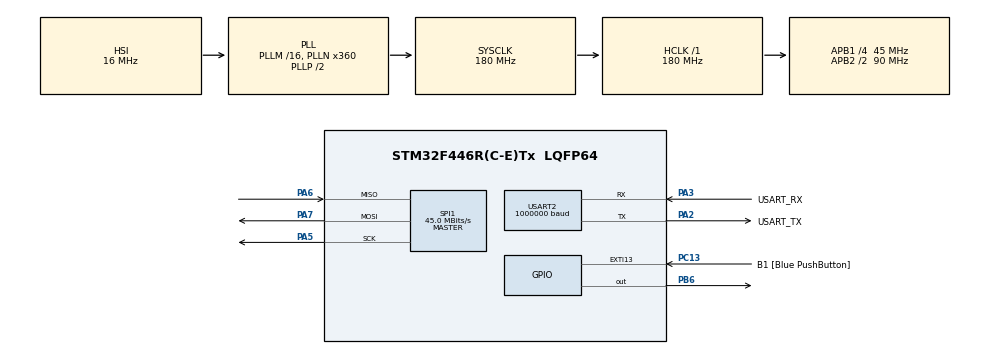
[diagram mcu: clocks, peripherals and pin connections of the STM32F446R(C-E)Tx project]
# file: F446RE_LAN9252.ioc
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FREERTOS.Tasks01=defaultTask,24,128,StartDefaultTask,Default,NULL,Static,defaultTaskBuffer,defaultTaskControlBlock;soes,24,1024,soesTask,Default,NULL,Static,soesBuffer,soesControlBlock
Mcu.Family=STM32F4
Mcu.Name=STM32F446R(C-E)Tx
Mcu.Package=LQFP64
NVIC.PriorityGroup=NVIC_PRIORITYGROUP_4
NVIC.TIM8_TRG_COM_TIM14_IRQn=true\:0\:0\:false\:false\:true\:false\:false\:true
NVIC.TimeBase=TIM8_TRG_COM_TIM14_IRQn
NVIC.TimeBaseIP=TIM14
PA13.GPIO_Label=TMS
PA13.Mode=Trace_Asynchronous_SW
PA13.Signal=SYS_JTMS-SWDIO
PA14.GPIO_Label=TCK
PA14.Mode=Trace_Asynchronous_SW
PA14.Signal=SYS_JTCK-SWCLK
PA2.GPIO_Label=USART_TX
PA2.Mode=Asynchronous
PA2.Signal=USART2_TX
PA3.GPIO_Label=USART_RX
PA3.Mode=Asynchronous
PA3.Signal=USART2_RX
PA5.Mode=Full_Duplex_Master
PA5.Signal=SPI1_SCK
PA6.Mode=Full_Duplex_Master
PA6.Signal=SPI1_MISO
PA7.Mode=Full_Duplex_Master
PA7.Signal=SPI1_MOSI
PB3.GPIO_Label=SWO
PB3.Mode=Trace_Asynchronous_SW
PB3.Signal=SYS_JTDO-SWO
PB6.Signal=GPIO_Output
PB8.Signal=I2C1_SCL
PB9.Signal=I2C1_SDA
PC13.GPIO_Label=B1 [Blue PushButton]
PC13.GPIO_ModeDefaultEXTI=GPIO_MODE_IT_FALLING
PC13.Signal=GPXTI13
PC14-OSC32_IN.Mode=LSE-External-Oscillator
PC14-OSC32_IN.Signal=RCC_OSC32_IN
PC15-OSC32_OUT.Mode=LSE-External-Oscillator
PC15-OSC32_OUT.Signal=RCC_OSC32_OUT
PH0-OSC_IN.Mode=HSE-External-Oscillator
PH0-OSC_IN.Signal=RCC_OSC_IN
PH1-OSC_OUT.Mode=HSE-External-Oscillator
PH1-OSC_OUT.Signal=RCC_OSC_OUT
ProjectManager.HeapSize=0x200
ProjectManager.StackSize=0x400
ProjectManager.TargetToolchain=Makefile
RCC.48MHZClocksFreq_Value=84000000
RCC.AHBFreq_Value=180000000
RCC.APB1CLKDivider=RCC_HCLK_DIV4
RCC.APB1Freq_Value=45000000
RCC.APB1TimFreq_Value=90000000
RCC.APB2CLKDivider=RCC_HCLK_DIV2
RCC.APB2Freq_Value=90000000
RCC.APB2TimFreq_Value=180000000
RCC.CortexFreq_Value=180000000
RCC.FLatency-AdvancedSettings=FLASH_LATENCY_5
RCC.HCLKFreq_Value=180000000
RCC.HSE_VALUE=8000000
RCC.HSI_VALUE=16000000
RCC.PLLN=360
RCC.SYSCLKFreq_VALUE=180000000
RCC.SYSCLKSource=RCC_SYSCLKSOURCE_PLLCLK
RCC.USBFreq_Value=180000000
RCC.VCOOutputFreq_Value=360000000
SPI1.CalculateBaudRate=45.0 MBits/s
SPI1.Direction=SPI_DIRECTION_2LINES
SPI1.Mode=SPI_MODE_MASTER
SPI1.VirtualType=VM_MASTER
USART2.BaudRate=1000000
USART2.VirtualMode=VM_ASYNC
VP_FREERTOS_VS_CMSIS_V2.Mode=CMSIS_V2
VP_SYS_VS_tim14.Mode=TIM14
board=NUCLEO-F446RE

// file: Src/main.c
/* USER CODE BEGIN Header */
/**
  ******************************************************************************
  * @file           : main.c
  * @brief          : Main program body
  ******************************************************************************
  * @attention
  *
  * <h2><center>&copy; Copyright (c) 2021 STMicroelectronics.
  * All rights reserved.</center></h2>
  *
  * This software component is licensed by ST under BSD 3-Clause license,
  * the "License"; You may not use this file except in compliance with the
  * License. You may obtain a copy of the License at:
  *                        opensource.org/licenses/BSD-3-Clause
  *
  ******************************************************************************
  */
/* USER CODE END Header */
#include "main.h"
#include "cmsis_os.h"
#include "spi.h"
#include "usart.h"
#include "gpio.h"

/* USER CODE BEGIN Includes */
#include <stdio.h>
#include <stdint.h>
#include "xprintf.h"

#include "ecat_slv.h"
#include "utypes.h"
/* USER CODE END Includes */

/* USER CODE BEGIN PD */
#ifdef __GNUC__
#define PUTCHAR_PROTOTYPE int __io_putchar(int ch)
#else
#define PUTCHAR_PROTOTYPE int fputc(int ch, FILE *f)
#endif /* __GNUC__ */

void __io_putchar(uint8_t ch) {
  HAL_UART_Transmit(&huart2, &ch, 1, 1);
}
/* USER CODE END PD */

/* USER CODE BEGIN PV */
  /* Application variables */
  _Objects    Obj;
/* USER CODE END PV */

void SystemClock_Config(void);
void MX_FREERTOS_Init(void);

/* USER CODE BEGIN 0 */
void cb_get_inputs (void)
{

    if(HAL_GPIO_ReadPin(B1_GPIO_Port, B1_Pin)){
      Obj.Buttons.Button1 = 255;
    }else{
      Obj.Buttons.Button1 = 0;
    }
}

void cb_set_outputs (void)
{
  if (Obj.LEDs.LED0== 1) {

	}
	else {

	}
}
/* USER CODE END 0 */

int main(void)
{

  /* MCU Configuration--------------------------------------------------------*/

  /* Reset of all peripherals, Initializes the Flash interface and the Systick. */
  HAL_Init();

  /* Configure the system clock */
  SystemClock_Config();

  /* Initialize all configured peripherals */
  MX_GPIO_Init();
  MX_USART2_UART_Init();
  MX_SPI1_Init();
  /* USER CODE BEGIN 2 */

  HAL_Delay(50);

  // Use xprintf as UART Output
   xdev_out(__io_putchar);

  setbuf(stdout, NULL);
  xprintf("\r\n%s,%s\r\n",__DATE__,__TIME__);
  xprintf("F446RE\r\n");

  xprintf("Hello Main\n");
  /* USER CODE END 2 */

  /* Init scheduler */
  osKernelInitialize();  /* Call init function for freertos objects (in freertos.c) */
  MX_FREERTOS_Init();
  /* Start scheduler */
  osKernelStart();

  /* We should never get here as control is now taken by the scheduler */
  /* Infinite loop */
  while (1)
  {

  }
}

void SystemClock_Config(void)
{
  RCC_OscInitTypeDef RCC_OscInitStruct = {0};
  RCC_ClkInitTypeDef RCC_ClkInitStruct = {0};

  /** Configure the main internal regulator output voltage
  */
  __HAL_RCC_PWR_CLK_ENABLE();
  __HAL_PWR_VOLTAGESCALING_CONFIG(PWR_REGULATOR_VOLTAGE_SCALE1);
  /** Initializes the RCC Oscillators according to the specified parameters
  * in the RCC_OscInitTypeDef structure.
  */
  RCC_OscInitStruct.OscillatorType = RCC_OSCILLATORTYPE_HSI;
  RCC_OscInitStruct.HSIState = RCC_HSI_ON;
  RCC_OscInitStruct.HSICalibrationValue = RCC_HSICALIBRATION_DEFAULT;
  RCC_OscInitStruct.PLL.PLLState = RCC_PLL_ON;
  RCC_OscInitStruct.PLL.PLLSource = RCC_PLLSOURCE_HSI;
  RCC_OscInitStruct.PLL.PLLM = 16;
  RCC_OscInitStruct.PLL.PLLN = 360;
  RCC_OscInitStruct.PLL.PLLP = RCC_PLLP_DIV2;
  RCC_OscInitStruct.PLL.PLLQ = 2;
  RCC_OscInitStruct.PLL.PLLR = 2;
  if (HAL_RCC_OscConfig(&RCC_OscInitStruct) != HAL_OK)
  {
    Error_Handler();
  }
  /** Activate the Over-Drive mode
  */
  if (HAL_PWREx_EnableOverDrive() != HAL_OK)
  {
    Error_Handler();
  }
  /** Initializes the CPU, AHB and APB buses clocks
  */
  RCC_ClkInitStruct.ClockType = RCC_CLOCKTYPE_HCLK|RCC_CLOCKTYPE_SYSCLK
                              |RCC_CLOCKTYPE_PCLK1|RCC_CLOCKTYPE_PCLK2;
  RCC_ClkInitStruct.SYSCLKSource = RCC_SYSCLKSOURCE_PLLCLK;
  RCC_ClkInitStruct.AHBCLKDivider = RCC_SYSCLK_DIV1;
  RCC_ClkInitStruct.APB1CLKDivider = RCC_HCLK_DIV4;
  RCC_ClkInitStruct.APB2CLKDivider = RCC_HCLK_DIV2;

  if (HAL_RCC_ClockConfig(&RCC_ClkInitStruct, FLASH_LATENCY_5) != HAL_OK)
  {
    Error_Handler();
  }
}

void HAL_TIM_PeriodElapsedCallback(TIM_HandleTypeDef *htim)
{
  if (htim->Instance == TIM14) {
    HAL_IncTick();
  }
}

void Error_Handler(void)
{
  __disable_irq();
  while (1)
  {
  }
}

/************************ (C) COPYRIGHT STMicroelectronics *****END OF FILE****/

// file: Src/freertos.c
/* USER CODE BEGIN Header */
/**
  ******************************************************************************
  * File Name          : freertos.c
  * Description        : Code for freertos applications
  ******************************************************************************
  * @attention
  *
  * <h2><center>&copy; Copyright (c) 2021 STMicroelectronics.
  * All rights reserved.</center></h2>
  *
  * This software component is licensed by ST under Ultimate Liberty license
  * SLA0044, the "License"; You may not use this file except in compliance with
  * the License. You may obtain a copy of the License at:
  *                             www.st.com/SLA0044
  *
  ******************************************************************************
  */
/* USER CODE END Header */

#include "FreeRTOS.h"
#include "task.h"
#include "main.h"
#include "cmsis_os.h"

/* USER CODE BEGIN Includes */
#include "esc_hw.h"
#include "ecat_slv.h"
#include "utypes.h"
#include "xprintf.h"
/* USER CODE END Includes */

typedef StaticTask_t osStaticThreadDef_t;

/* Definitions for defaultTask */
osThreadId_t defaultTaskHandle;
uint32_t defaultTaskBuffer[ 128 ];
osStaticThreadDef_t defaultTaskControlBlock;
const osThreadAttr_t defaultTask_attributes = {
  .name = "defaultTask",
  .cb_mem = &defaultTaskControlBlock,
  .cb_size = sizeof(defaultTaskControlBlock),
  .stack_mem = &defaultTaskBuffer[0],
  .stack_size = sizeof(defaultTaskBuffer),
  .priority = (osPriority_t) osPriorityNormal,
};
/* Definitions for soes */
osThreadId_t soesHandle;
uint32_t soesBuffer[ 1024 ];
osStaticThreadDef_t soesControlBlock;
const osThreadAttr_t soes_attributes = {
  .name = "soes",
  .cb_mem = &soesControlBlock,
  .cb_size = sizeof(soesControlBlock),
  .stack_mem = &soesBuffer[0],
  .stack_size = sizeof(soesBuffer),
  .priority = (osPriority_t) osPriorityNormal,
};

void StartDefaultTask(void *argument);
void soesTask(void *argument);

void MX_FREERTOS_Init(void); /* (MISRA C 2004 rule 8.1) */

void MX_FREERTOS_Init(void) {

  /* Create the thread(s) */
  /* creation of defaultTask */
  defaultTaskHandle = osThreadNew(StartDefaultTask, NULL, &defaultTask_attributes);

  /* creation of soes */
  soesHandle = osThreadNew(soesTask, NULL, &soes_attributes);

}

void StartDefaultTask(void *argument)
{
  /* USER CODE BEGIN StartDefaultTask */
  static uint16_t data = 0;
  static float dataf = 0.0f;
  /* Infinite loop */
  for(;;)
  {
    /*
    osDelay(200);
    HAL_GPIO_TogglePin(LD2_GPIO_Port, LD2_Pin);
    xprintf("hello %5d, %3.1f\r\n",data++, dataf);
    dataf += 0.1f;
    */
    osDelay(1);
  }
  /* USER CODE END StartDefaultTask */
}

void soesTask(void *argument)
{
  /* USER CODE BEGIN soesTask */

  static esc_cfg_t config =
  {
     .user_arg = "/dev/lan9252",
     .use_interrupt = 0,
     .watchdog_cnt = 65000,
     .set_defaults_hook = NULL,
     .pre_state_change_hook = NULL,
     .post_state_change_hook = NULL,
     .application_hook = NULL,
     .safeoutput_override = NULL,
     .pre_object_download_hook = NULL,
     .post_object_download_hook = NULL,
     .rxpdo_override = NULL,
     .txpdo_override = NULL,
     .esc_hw_interrupt_enable = NULL,
     .esc_hw_interrupt_disable = NULL,
     .esc_hw_eep_handler = NULL,
     .esc_check_dc_handler = NULL,
  };

  volatile uint32_t value = 0;
  volatile uint16_t value16 = 0;
  volatile uint8_t value8 = 0;

  spi_select(1);
  ESC_reset();
  spi_unselect(1);

  do{
    value = lan9252_read_32(ESC_BYTE_TEST_REG);
    osDelay(10);
  }while(value != BYTE_TEST);

  value = lan9252_read_32(ESC_ID_REV_REG);
  xprintf("Chip ID : %x\n", value >> 16);
  xprintf("Chip Rev: %d\n", value & 0xFFFF);

  ESC_read(0xE08, &value, 4);
  xprintf("VenderID: %04X\n", value);

  ESC_read(0xE00, &value, 4);
  xprintf("ProductID: %04X\n", value);

  ESC_read(0x000, &value8, 1);
  xprintf("Controller: %04X\n", value8);

  ESC_read(0x001, &value16, 2);
  xprintf("Revision: %04X\n", value16);

  ESC_read(0x004, &value8, 1);
  xprintf("FMMU: %X\n", value8);

  ESC_read(0x005, &value8, 1);
  xprintf("SyncManager: %X\n", value8);

  ecat_slv_init(&config);
  /* Infinite loop */
  for(;;)
  {
    //osDelay(1);
    ecat_slv();
  }
  /* USER CODE END soesTask */
}

/************************ (C) COPYRIGHT STMicroelectronics *****END OF FILE****/
